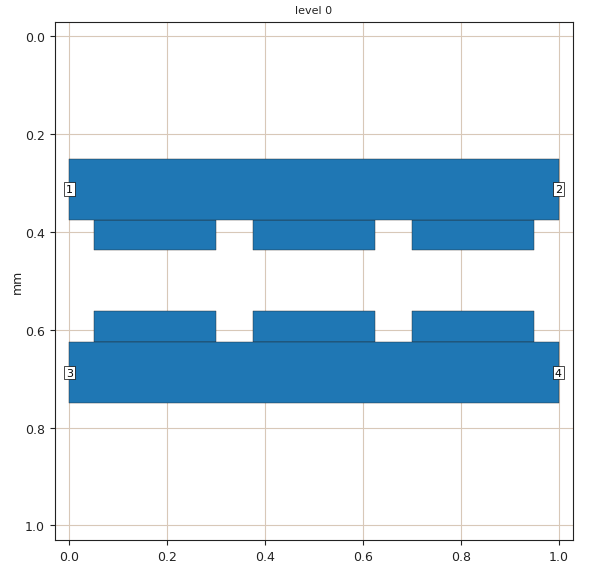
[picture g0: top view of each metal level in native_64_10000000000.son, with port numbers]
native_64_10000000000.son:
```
FTYP SONPROJ 19
DIM
ANG DEG
CAP PF
CON /OH
FREQ GHZ
IND NH
LNG MM
RES OH
END DIM
CONTROL
VARSWP
OPTIONS
SPEED 0
SUBSPLAM N 100
END CONTROL
GEO
TMET "PEC" 0 SUP 0 0 0 0
BMET "PEC" 0 SUP 0 0 0 0
BOX 1 1 1 128 128 100 0
.1 1 1 0 0 0 2 "Air"
.1 1 1 0 0 0 2 "Air"
POR1 BOX
POLY 7 1
3
1 50 0 0 0 0 0.3125
POR1 BOX
POLY 7 1
1
2 50 0 0 0 1 0.3125
POR1 BOX
POLY 8 1
3
3 50 0 0 0 0 0.6875
POR1 BOX
POLY 8 1
1
4 50 0 0 0 1 0.6875
NUM 8
0 5 -1 N 1 1 1 100 100 0 0 0 Y
0.05 0.375
0.3 0.375
0.3 0.4375
0.05 0.4375
0.05 0.375
END
0 5 -1 N 2 1 1 100 100 0 0 0 Y
0.375 0.375
0.625 0.375
0.625 0.4375
0.375 0.4375
0.375 0.375
END
0 5 -1 N 3 1 1 100 100 0 0 0 Y
0.7 0.375
0.95 0.375
0.95 0.4375
0.7 0.4375
0.7 0.375
END
0 5 -1 N 4 1 1 100 100 0 0 0 Y
0.05 0.5625
0.3 0.5625
0.3 0.625
0.05 0.625
0.05 0.5625
END
0 5 -1 N 5 1 1 100 100 0 0 0 Y
0.375 0.5625
0.625 0.5625
0.625 0.625
0.375 0.625
0.375 0.5625
END
0 5 -1 N 6 1 1 100 100 0 0 0 Y
0.7 0.5625
0.95 0.5625
0.95 0.625
0.7 0.625
0.7 0.5625
END
0 5 -1 N 7 1 1 100 100 0 0 0 Y
0.0 0.25
1.0 0.25
1.0 0.375
0.0 0.375
0.0 0.25
END
0 5 -1 N 8 1 1 100 100 0 0 0 Y
0.0 0.625
1.0 0.625
1.0 0.75
0.0 0.75
0.0 0.625
END
END GEO
VARSWP
ENABLED Y
FREQ Y AN SWEEP 10.0
END
END VARSWP
FILEOUT
TOUCH ND Y native_raw.s4p IC 15 S RI R 50
FOLDER .
END FILEOUT
```
